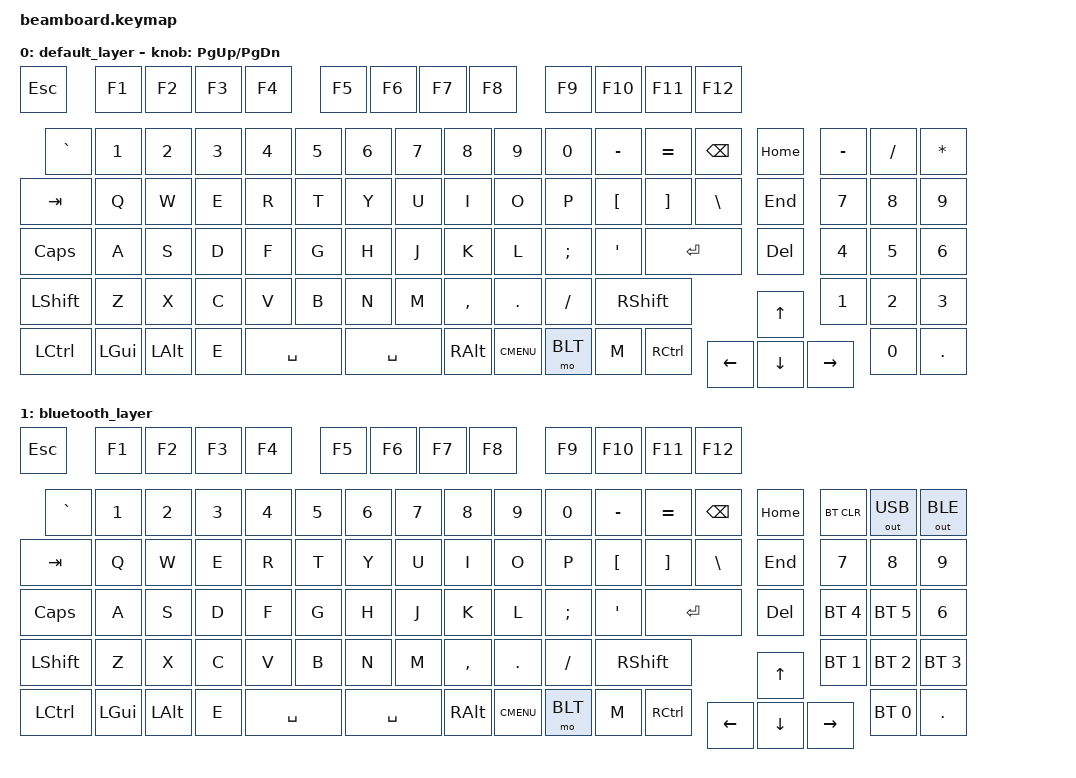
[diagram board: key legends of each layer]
/*
 * Copyright (c) 2022 The ZMK Contributors
 *
 * SPDX-License-Identifier: MIT
 */

#include <behaviors.dtsi>
#include <dt-bindings/zmk/keys.h>
#include <dt-bindings/zmk/bt.h>
#include <dt-bindings/zmk/outputs.h>


#define DEFAULT 0
#define BLT 1

/ {
    keymap {
        compatible = "zmk,keymap";

        default_layer {
            bindings = <
                &kp ESC     &kp F1      &kp F2      &kp F3      &kp F4            &kp F5      &kp F6      &kp F7      &kp F8            &kp F9      &kp F10     &kp F11     &kp F12
                &kp GRAVE   &kp N1      &kp N2      &kp N3      &kp N4      &kp N5      &kp N6      &kp N7      &kp N8      &kp N9      &kp N0      &kp MINUS   &kp EQUAL   &kp BSPC    &kp HOME    &kp MINUS   &kp FSLH    &kp ASTRK
                &kp TAB     &kp Q       &kp W       &kp E       &kp R       &kp T       &kp Y       &kp U       &kp I       &kp O       &kp P       &kp LBKT    &kp RBKT    &kp BSLH    &kp END     &kp N7      &kp N8      &kp N9
                &kp CAPS    &kp A       &kp S       &kp D       &kp F       &kp G       &kp H       &kp J       &kp K       &kp L       &kp SEMI    &kp APOS        &kp ENTER           &kp DEL     &kp N4      &kp N5      &kp N6
                &kp LSHFT   &kp Z       &kp X       &kp C       &kp V       &kp B       &kp N       &kp M       &kp COMMA   &kp PERIOD  &kp SLASH       &kp RSHFT                       &kp UP      &kp N1      &kp N2      &kp N3
                &kp LCTRL   &kp LGUI    &kp LALT    &kp E            &kp SPACE               &kp SPACE          &kp RALT    &kp K_CMENU &mo BLT     &kp M       &kp RCTRL   &kp LEFT    &kp DOWN    &kp RIGHT   &kp N0      &kp PERIOD
            >;
            sensor-bindings = <&inc_dec_kp PAGE_UP PAGE_DOWN>;
        };

        bluetooth_layer {
            bindings = <
                &kp ESC     &kp F1      &kp F2      &kp F3      &kp F4            &kp F5      &kp F6      &kp F7      &kp F8            &kp F9      &kp F10     &kp F11     &kp F12
                &kp GRAVE   &kp N1      &kp N2      &kp N3      &kp N4      &kp N5      &kp N6      &kp N7      &kp N8      &kp N9      &kp N0      &kp MINUS   &kp EQUAL   &kp BSPC    &kp HOME  &bt BT_CLR  &out OUT_USB &out OUT_BLE
                &kp TAB     &kp Q       &kp W       &kp E       &kp R       &kp T       &kp Y       &kp U       &kp I       &kp O       &kp P       &kp LBKT    &kp RBKT    &kp BSLH    &kp END     &kp N7      &kp N8      &kp N9
                &kp CAPS    &kp A       &kp S       &kp D       &kp F       &kp G       &kp H       &kp J       &kp K       &kp L       &kp SEMI    &kp APOS        &kp ENTER           &kp DEL   &bt BT_SEL 4 &bt BT_SEL 5 &kp N6
                &kp LSHFT   &kp Z       &kp X       &kp C       &kp V       &kp B       &kp N       &kp M       &kp COMMA   &kp PERIOD  &kp SLASH       &kp RSHFT                       &kp UP    &bt BT_SEL 1 &bt BT_SEL 2 &bt BT_SEL 3
                &kp LCTRL   &kp LGUI    &kp LALT    &kp E            &kp SPACE               &kp SPACE          &kp RALT    &kp K_CMENU &mo BLT     &kp M       &kp RCTRL   &kp LEFT    &kp DOWN    &kp RIGHT  &bt BT_SEL 0 &kp PERIOD
            >;
        };


    };

};
